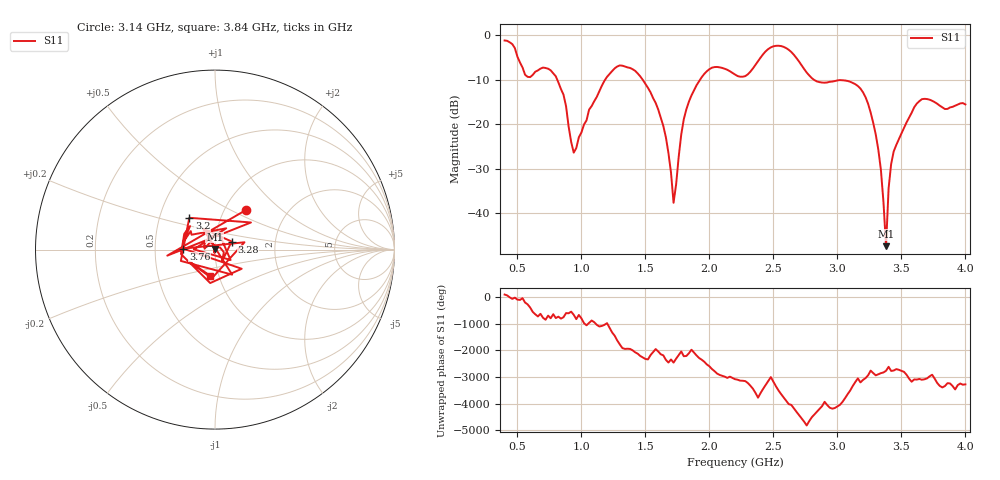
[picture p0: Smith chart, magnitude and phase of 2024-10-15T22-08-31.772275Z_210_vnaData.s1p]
! Created with skrf (http://scikit-rf.org).
# Hz S RI R 50.0
!freq ReS11 ImS11
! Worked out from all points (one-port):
!   181 points, 400 MHz to 4 GHz, reference 50 ohm
!   lowest |S11| = -47.4 dB at 3.38 GHz (marker M1), VSWR 1.01, Z = 49.8 + j0.391 ohm
!   |S11| at or under -10 dB: 810.9 MHz to 1.186 GHz (375 MHz wide, 37.6 % of centre); 1.478 GHz to 1.927 GHz (449.3 MHz wide, 26.4 % of centre); 2.815 GHz to end of sweep
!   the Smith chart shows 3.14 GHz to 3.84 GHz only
!   S11 on the Smith chart (normalised r, x): 3.14 GHz: 1.26, +0.60; 3.2 GHz: 0.71, +0.26; 3.28 GHz: 1.20, +0.11; 3.76 GHz: 0.70, +0.01; 3.84 GHz: 0.91, -0.27
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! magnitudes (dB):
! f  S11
! 400 MHz  -1.2
! 560 MHz  -8.9
! 740 MHz  -7.5
! 860 MHz  -13.4
! 940 MHz  -26.4
! 1.3 GHz  -6.8
! 1.58 GHz  -15.2
! 1.66 GHz  -23.0
! 1.72 GHz  -37.7
! 1.76 GHz  -27.4
! 1.82 GHz  -16.7
! 1.94 GHz  -9.4
! 2.2 GHz  -8.9
! 2.5 GHz  -2.5
! 2.66 GHz  -4.4
! 2.84 GHz  -10.4
! 3.1 GHz  -10.5
! 3.14 GHz  -11.0
! 3.2 GHz  -12.8
! 3.28 GHz  -19.7
! 3.34 GHz  -30.3
! 3.38 GHz  -47.4
! 3.4 GHz  -34.4
! 3.42 GHz  -29.0
! 3.56 GHz  -18.6
! 3.76 GHz  -15.1
! 3.84 GHz  -16.6
! 4 GHz  -15.6
